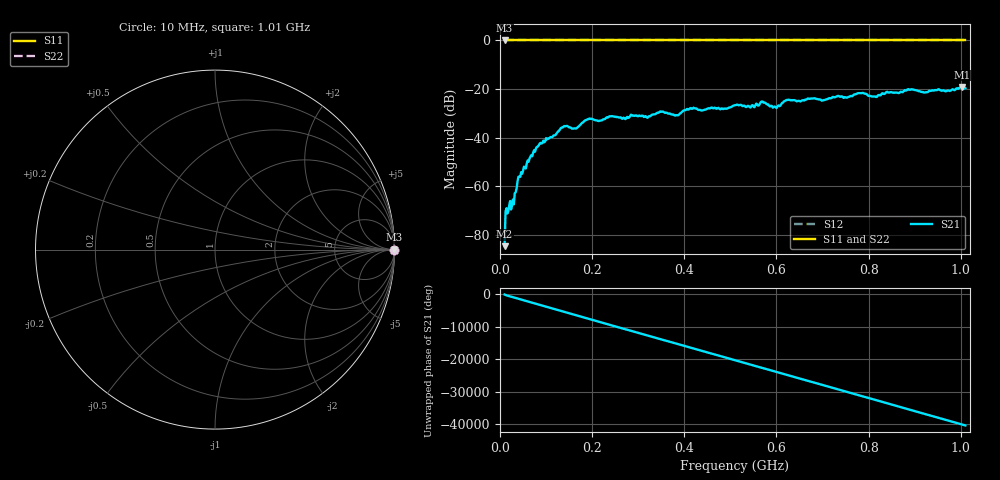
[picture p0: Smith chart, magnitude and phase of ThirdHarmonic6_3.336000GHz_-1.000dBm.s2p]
! 8/17/2025 10:29:36 AM
! C:\ANRITSUVNA\TEMP\TEMP.S2P
! CHANNEL.1
! TR.MEASUREMENT
! RAW.DATA
! RF.CORRECTION.OFF
! AVERAGING.OFF
! IF.BANDWIDTH: 5KHZ
! SWEEPTYPE:  FREQ.SWEEP(Linear)
! Reference Plane Port Info
! PORT:  PORT1  PORT2
! DISTANCE:  0  m  0  m
! TIME:  0  s  0  s
! PHASE.OFFSET:  0  deg.  0  deg.
! LOSS:  0  dB  0  dB
! REF.LOSS:  0  dB  0  dB
! REF.FREQ:  0  Hz  0  Hz
! Power Info
! POWER:  -20  dBm  -20  dBm
! EFF.POWER:  -20  dBm  -20  dBm
! SOURCE.ATTEN:  0  dB  0  dB
! TEST.ATTEN:  0  dB  0  dB
# GHZ S RI R 50.0
! FREQ.GHZ  S11RE  S11IM  S21RE  S21IM  S12RE  S12IM  S22RE  S22IM
!; PortSelection: Port_12
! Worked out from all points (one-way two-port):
!   501 points, 10 MHz to 1.01 GHz, reference 50 ohm
!   highest |S21| = -19.16 dB at 1.002 GHz (marker M1); lowest = -84.6 dB at 10 MHz (marker M2)
!   lowest |S11| = 0.0 dB at 10 MHz (marker M3)
!   |S11| at or under -10 dB: nowhere
!   |S22| runs from 0.0 to 0.0 dB; largest |S21 - S12| = 1.1
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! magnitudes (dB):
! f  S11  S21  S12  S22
! 10 MHz  0.0  -84.6  0.0  0.0
! 16 MHz  0.0  -71.1  0.0  0.0
! 28 MHz  0.0  -65.4  0.0  0.0
! 42 MHz  0.0  -56.0  0.0  0.0
! 82 MHz  0.0  -43.7  0.0  0.0
! 136 MHz  0.0  -35.8  0.0  0.0
! 162 MHz  0.0  -36.1  0.0  0.0
! 178 MHz  0.0  -33.9  0.0  0.0
! 194 MHz  0.0  -32.1  0.0  0.0
! 344 MHz  0.0  -29.7  0.0  0.0
! 384 MHz  0.0  -30.7  0.0  0.0
! 416 MHz  0.0  -28.1  0.0  0.0
! 510 MHz  0.0  -26.6  0.0  0.0
! 570 MHz  0.0  -25.1  0.0  0.0
! 596 MHz  0.0  -27.2  0.0  0.0
! 622 MHz  0.0  -24.5  0.0  0.0
! 678 MHz  0.0  -23.9  0.0  0.0
! 784 MHz  0.0  -21.7  0.0  0.0
! 814 MHz  0.0  -23.0  0.0  0.0
! 844 MHz  0.0  -21.4  0.0  0.0
! 1.002 GHz  0.0  -19.2  0.0  0.0
! 1.01 GHz  0.0  -19.6  0.0  0.0
